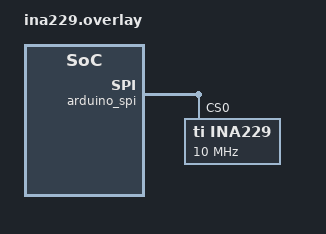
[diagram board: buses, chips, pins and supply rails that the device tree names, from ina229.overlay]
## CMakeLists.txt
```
# SPDX-License-Identifier: Apache-2.0

cmake_minimum_required(VERSION 3.13.1)

set(DTC_OVERLAY_FILE "${CMAKE_CURRENT_SOURCE_DIR}/ina229.overlay")

find_package(Zephyr REQUIRED HINTS $ENV{ZEPHYR_BASE})
project(ina229)

FILE(GLOB app_sources src/*.c)
target_sources(app PRIVATE ${app_sources})
```

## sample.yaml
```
sample:
  description: Demonstration of the TI INA229 Power/Energy/Charge monitor
  name: INA229 sample
tests:
  sample.sensor.ens210:
    harness: sensor
    tags: samples
    depends_on: spi arduino_spi
```

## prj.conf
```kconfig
CONFIG_SPI=y
CONFIG_SENSOR=y
CONFIG_INA229=y
```

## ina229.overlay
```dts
/*
 * Copyright (c) 2020 Alexander Wachter
 * SPDX-License-Identifier: Apache-2.0
 */

&arduino_spi {
	status = "okay";

	monitor: ina229@0 {
		compatible = "ti,ina229";
		reg = <0x0>;
		spi-max-frequency = <10000000>;
		label = "INA229";
		res = <30>;
		max-current = <1>;
	};
};
```

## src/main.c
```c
/*
 * Copyright (c) 2021 Alexander Wachter
 *
 * SPDX-License-Identifier: Apache-2.0
 */

#include <zephyr.h>
#include <device.h>
#include <drivers/sensor.h>
#include <devicetree.h>
#include <sys/printk.h>

void main(void)
{
	const struct device *dev;
	struct sensor_value voltage, current, power, charge;

	dev = DEVICE_DT_GET(DT_NODELABEL(monitor));
	if (!device_is_ready(dev)) {
		printk("INA229 not ready");
		return;
	}

	while (1) {
		sensor_sample_fetch(dev);
		sensor_channel_get(dev, SENSOR_CHAN_VOLTAGE, &voltage);
		sensor_channel_get(dev, SENSOR_CHAN_CURRENT, &current);
		sensor_channel_get(dev, SENSOR_CHAN_POWER, &power);
		sensor_channel_get(dev, SENSOR_CHAN_CHARGE, &charge);
		printk("Voltage: %d.%06d V; Current: %d.%06d A; "
		       "Power: %d.%06d W; Charge: %d.%06dWs\n",
			voltage.val1, voltage.val2, current.val1, current.val2,
			power.val1, power.val2, charge.val1, charge.val2);

		k_sleep(K_MSEC(1000));
	}
}
```
